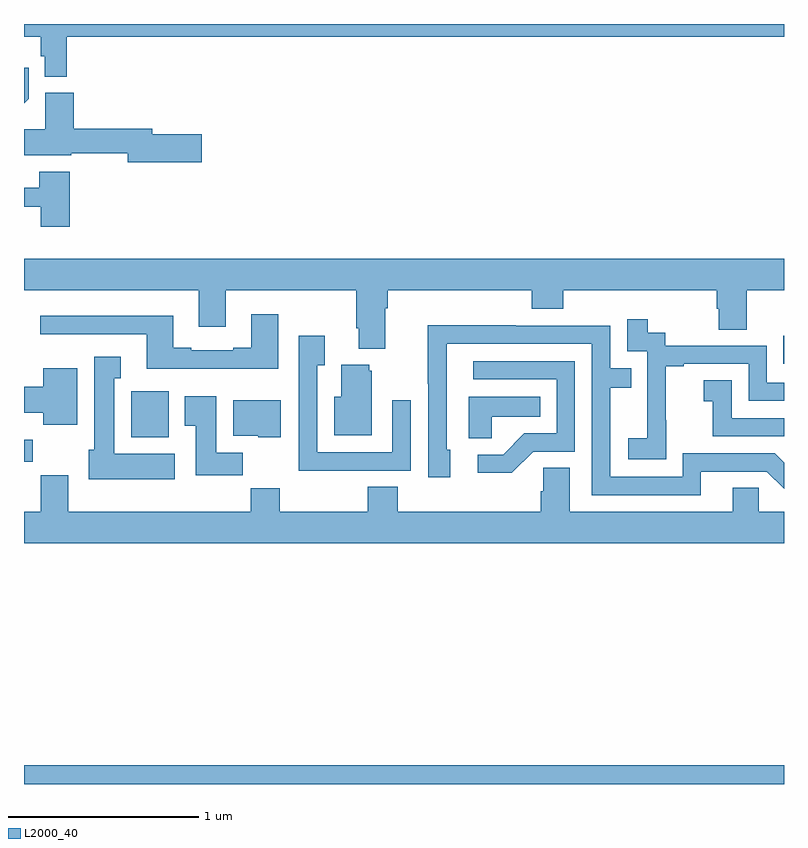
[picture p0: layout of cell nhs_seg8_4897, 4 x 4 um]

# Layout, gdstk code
import gdstk
lib = gdstk.Library(unit=1e-6, precision=1e-09)
def R(c, l, rs):  # rectangles x0, y0, x1, y1
    for r in rs: c.add(gdstk.rectangle(r[:2], r[2:], *l))
def P(c, l, *ps):  # polygons
    for p in ps: c.add(gdstk.Polygon(p, *l))
L2000_40 = (2000, 40)

nhs_seg8_4897 = lib.new_cell('nhs_seg8_4897')
R(nhs_seg8_4897, L2000_40, [(407,1113.9,411,1114), (407,1115.595,407.045,1115.713), (407.564,1115.726,407.761,1115.968), (410.995,1116.111,411,1116.259)])
P(nhs_seg8_4897, L2000_40, [(407.225,1117.832),(411,1117.832),(411,1117.9),(407,1117.9),(407,1117.832),(407.089,1117.832),(407.089,1117.731),(407.109,1117.731),(407.109,1117.622),(407.225,1117.622)],
  [(407.024,1117.506),(407.024,1117.669),(407,1117.669),(407,1117.482)],
  [(407.935,1117.319),(407.674,1117.319),(407.674,1117.348),(407.261,1117.348),(407.261,1117.537),(407.111,1117.537),(407.111,1117.346),(407,1117.346),(407,1117.208),(407.248,1117.208),(407.248,1117.219),(407.546,1117.219),(407.546,1117.172),(407.935,1117.172)],
  [(407.24,1117.123),(407.08,1117.123),(407.08,1117.039),(407,1117.039),(407,1116.939),(407.087,1116.939),(407.087,1116.834),(407.24,1116.834)],
  [(408.901,1116.404),(408.914,1116.404),(408.914,1116.5),(409.673,1116.5),(409.673,1116.401),(409.838,1116.401),(409.838,1116.5),(410.645,1116.5),(410.645,1116.402),(410.657,1116.402),(410.657,1116.292),(410.805,1116.292),(410.805,1116.5),(411,1116.5),(411,1116.664),(407,1116.664),(407,1116.5),(407.921,1116.5),(407.921,1116.306),(408.061,1116.306),(408.061,1116.5),(408.749,1116.5),(408.749,1116.298),(408.761,1116.298),(408.761,1116.191),(408.901,1116.191)],
  [(408.337,1116.373),(408.197,1116.373),(408.197,1116.196),(408.101,1116.196),(408.101,1116.183),(407.881,1116.183),(407.881,1116.196),(407.785,1116.196),(407.785,1116.364),(407.085,1116.364),(407.085,1116.267),(407.645,1116.267),(407.645,1116.086),(408.337,1116.086)],
  [(410.379,1115.815),(410.378,1115.815),(410.378,1116.099),(410.473,1116.099),(410.473,1116.111),(410.814,1116.111),(410.814,1115.916),(411,1115.916),(411,1116.012),(410.91,1116.012),(410.91,1116.207),(410.376,1116.207),(410.376,1116.276),(410.284,1116.276),(410.284,1116.346),(410.175,1116.346),(410.175,1116.177),(410.28,1116.177),(410.28,1115.948),(410.279,1115.948),(410.279,1115.719),(410.181,1115.719),(410.181,1115.609),(410.379,1115.609)],
  [(410.563,1115.544),(410.91,1115.544),(411,1115.454),(411,1115.592),(410.952,1115.64),(410.466,1115.64),(410.466,1115.517),(410.085,1115.517),(410.085,1115.986),(410.195,1115.986),(410.195,1116.087),(410.085,1116.087),(410.085,1116.312),(409.589,1116.312),(409.589,1116.314),(409.126,1116.314),(409.126,1116.007),(409.128,1116.007),(409.128,1115.514),(409.243,1115.514),(409.243,1115.658),(409.224,1115.658),(409.224,1116.216),(409.989,1116.216),(409.989,1115.421),(410.563,1115.421)],
  [(408.719,1115.55),(409.035,1115.55),(409.035,1115.92),(408.939,1115.92),(408.939,1115.646),(408.543,1115.646),(408.543,1116.103),(408.583,1116.103),(408.583,1116.259),(408.447,1116.259),(408.447,1115.549),(408.719,1115.549)],
  [(407.794,1115.638),(407.476,1115.638),(407.476,1116.035),(407.509,1116.035),(407.509,1116.148),(407.369,1116.148),(407.369,1115.658),(407.342,1115.658),(407.342,1115.504),(407.794,1115.504)],
  [(409.68,1115.649),(409.899,1115.649),(409.899,1116.126),(409.365,1116.126),(409.365,1116.03),(409.803,1116.03),(409.803,1115.745),(409.634,1115.745),(409.523,1115.634),(409.389,1115.634),(409.389,1115.537),(409.567,1115.537)],
  [(408.829,1116.075),(408.818,1116.075),(408.818,1116.106),(408.671,1116.106),(408.671,1115.938),(408.632,1115.938),(408.632,1115.735),(408.829,1115.735)],
  [(407.281,1116.088),(407.102,1116.088),(407.102,1115.99),(407,1115.99),(407,1115.855),(407.102,1115.855),(407.102,1115.792),(407.281,1115.792)],
  [(411,1115.826),(410.724,1115.826),(410.724,1116.025),(410.577,1116.025),(410.577,1115.915),(410.626,1115.915),(410.626,1115.73),(411,1115.73)],
  [(408.152,1115.644),(408.013,1115.644),(408.013,1115.941),(407.846,1115.941),(407.846,1115.785),(407.903,1115.785),(407.903,1115.526),(408.152,1115.526)],
  [(409.461,1115.834),(409.718,1115.834),(409.718,1115.938),(409.34,1115.938),(409.34,1115.719),(409.461,1115.719)],
  [(408.352,1115.92),(408.101,1115.92),(408.101,1115.732),(408.234,1115.732),(408.234,1115.726),(408.352,1115.726)],
  [(408.193,1115.456),(408.193,1115.332),(407.233,1115.332),(407.233,1115.525),(407.087,1115.525),(407.087,1115.332),(407,1115.332),(407,1115.168),(411,1115.168),(411,1115.332),(410.868,1115.332),(410.868,1115.459),(410.729,1115.459),(410.729,1115.332),(409.873,1115.332),(409.873,1115.564),(409.734,1115.564),(409.734,1115.441),(409.721,1115.441),(409.721,1115.332),(408.968,1115.332),(408.968,1115.465),(408.808,1115.465),(408.808,1115.332),(408.345,1115.332),(408.345,1115.456)])

lib.write_gds('nhs_seg8_4897.gds')
